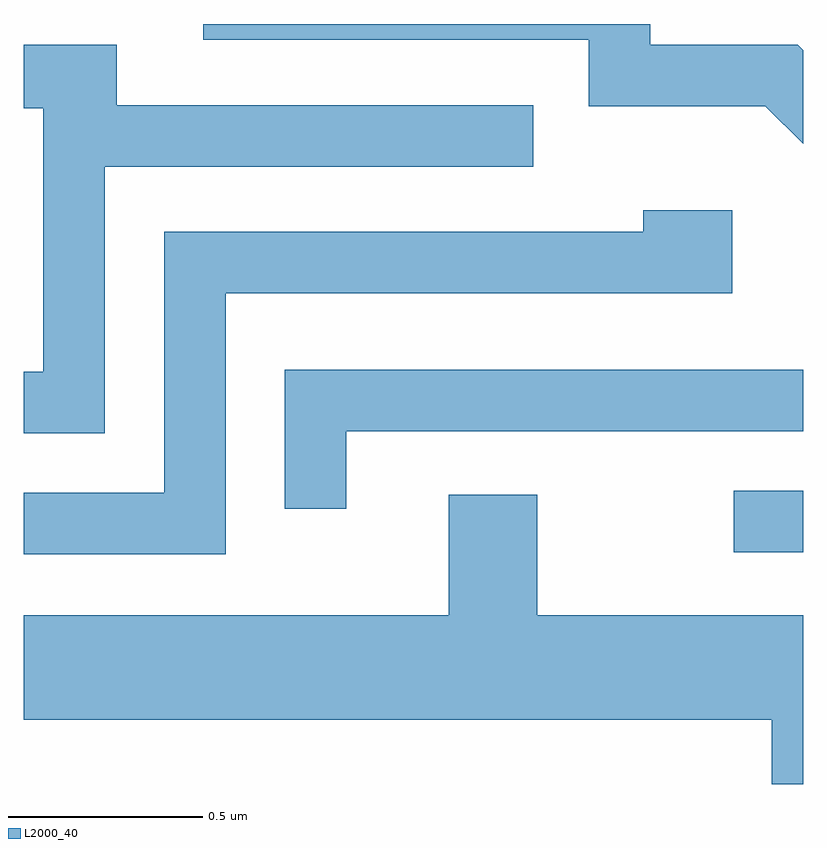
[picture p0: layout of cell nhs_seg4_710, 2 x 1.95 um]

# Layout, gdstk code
import gdstk
lib = gdstk.Library(unit=1e-6, precision=1e-09)
def R(c, l, rs):  # rectangles x0, y0, x1, y1
    for r in rs: c.add(gdstk.rectangle(r[:2], r[2:], *l))
def P(c, l, *ps):  # polygons
    for p in ps: c.add(gdstk.Polygon(p, *l))
L2000_40 = (2000, 40)

nhs_seg4_710 = lib.new_cell('nhs_seg4_710')
R(nhs_seg4_710, L2000_40, [(192.433,1279.626,192.611,1279.784)])
P(nhs_seg4_710, L2000_40, [(192.611,1280.915),(192.597,1280.929),(192.219,1280.929),(192.219,1280.982),(191.071,1280.982),(191.071,1280.941),(192.061,1280.941),(192.061,1280.771),(192.514,1280.771),(192.611,1280.674)],
  [(190.819,1280.616),(191.918,1280.616),(191.918,1280.774),(190.849,1280.774),(190.849,1280.929),(190.611,1280.929),(190.611,1280.766),(190.661,1280.766),(190.661,1280.089),(190.611,1280.089),(190.611,1279.931),(190.819,1279.931)],
  [(191.129,1280.291),(192.429,1280.291),(192.429,1280.504),(192.201,1280.504),(192.201,1280.449),(190.971,1280.449),(190.971,1279.779),(190.611,1279.779),(190.611,1279.621),(191.129,1279.621)],
  [(191.439,1279.936),(192.611,1279.936),(192.611,1280.094),(191.281,1280.094),(191.281,1279.738),(191.439,1279.738)],
  [(192.611,1279.464),(191.929,1279.464),(191.929,1279.774),(191.701,1279.774),(191.701,1279.464),(190.611,1279.464),(190.611,1279.196),(192.531,1279.196),(192.531,1279.031),(192.611,1279.031)])

lib.write_gds('nhs_seg4_710.gds')
